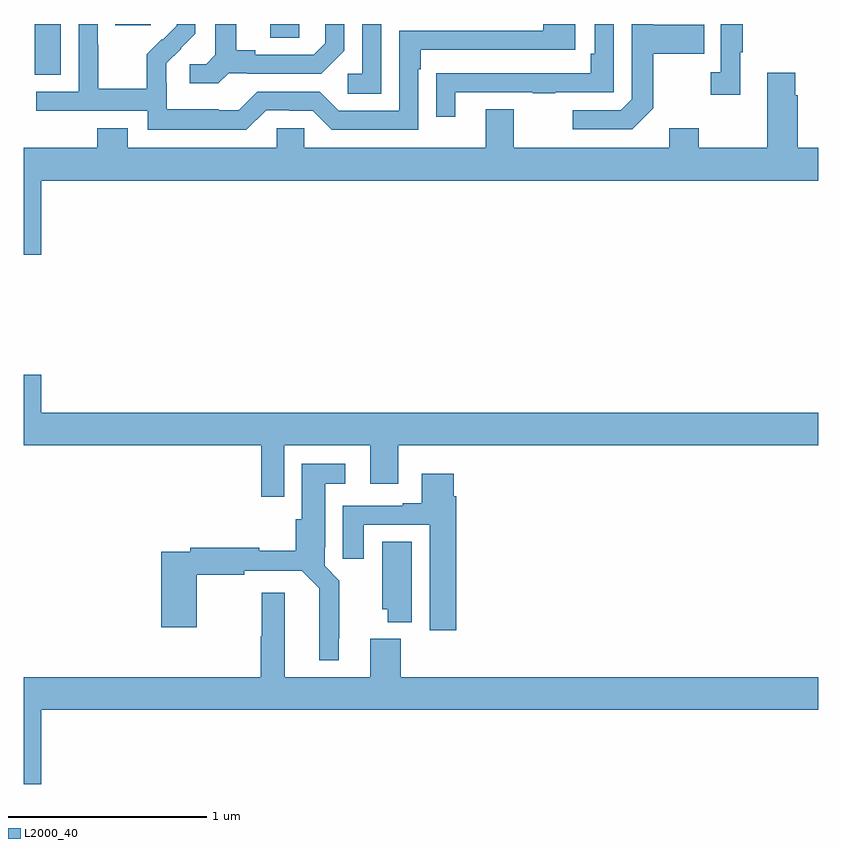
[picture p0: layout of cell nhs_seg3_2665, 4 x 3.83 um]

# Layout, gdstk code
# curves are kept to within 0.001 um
import gdstk
lib = gdstk.Library(unit=1e-6, precision=1e-09)
def R(c, l, rs):  # rectangles x0, y0, x1, y1
    for r in rs: c.add(gdstk.rectangle(r[:2], r[2:], *l))
def P(c, l, *ps):  # polygons
    for p in ps: c.add(gdstk.Polygon(p, *l))
L2000_40 = (2000, 40)

nhs_seg3_2665 = lib.new_cell('nhs_seg3_2665')
R(nhs_seg3_2665, L2000_40, [(249.056,672.145,249.187,672.4), (250.241,672.331,250.386,672.4), (249.461,672.393,249.64,672.4)])
P(nhs_seg3_2665, L2000_40, [(250.221,671.967),(250.337,671.967),(250.337,671.964),(250.455,671.964),(250.551,671.868),(250.986,671.868),(250.986,672.173),(250.999,672.173),(250.999,672.27),(251.776,672.27),(251.776,672.4),(251.615,672.4),(251.615,672.366),(250.89,672.366),(250.89,671.964),(250.587,671.964),(250.491,672.06),(250.176,672.06),(250.083,671.967),(249.983,671.967),(249.983,671.971),(249.72,671.971),(249.72,672.105),(249.718,672.105),(249.718,672.202),(249.864,672.35),(249.864,672.4),(249.77,672.4),(249.77,672.392),(249.699,672.321),(249.696,672.324),(249.619,672.247),(249.619,672.073),(249.375,672.073),(249.375,672.296),(249.372,672.296),(249.372,672.4),(249.276,672.4),(249.276,672.06),(249.063,672.06),(249.063,671.964),(249.624,671.964),(249.624,671.867),(250.121,671.867)],
  [(251.173,672.057),(251.563,672.057),(251.563,672.052),(251.675,672.052),(251.675,672.057),(251.97,672.057),(251.97,672.4),(251.874,672.4),(251.874,672.25),(251.854,672.25),(251.854,672.153),(251.179,672.153),(251.179,672.152),(251.077,672.152),(251.077,671.934),(251.173,671.934)],
  [(250.8,672.4),(250.704,672.4),(250.704,672.15),(250.632,672.15),(250.632,672.049),(250.8,672.049)],
  [(250.032,672.153),(250.126,672.153),(250.126,672.15),(250.498,672.15),(250.614,672.266),(250.614,672.4),(250.517,672.4),(250.517,672.303),(250.46,672.246),(250.165,672.246),(250.165,672.269),(250.069,672.269),(250.069,672.4),(249.965,672.4),(249.965,672.245),(249.918,672.198),(249.837,672.198),(249.837,672.101),(249.98,672.101)],
  [(252.169,671.977),(252.169,672.25),(252.425,672.25),(252.425,672.397),(252.169,672.397),(252.169,672.4),(252.06,672.4),(252.06,672.021),(252.006,671.967),(251.763,671.967),(251.763,671.871),(252.063,671.871)],
  [(252.607,672.257),(252.619,672.257),(252.619,672.4),(252.51,672.4),(252.51,672.158),(252.459,672.158),(252.459,672.045),(252.607,672.045)],
  [(249.088,671.612),(253,671.612),(253,671.776),(252.896,671.776),(252.896,672.041),(252.883,672.041),(252.883,672.154),(252.743,672.154),(252.743,671.776),(252.399,671.776),(252.399,671.875),(252.251,671.875),(252.251,671.776),(251.467,671.776),(251.467,671.971),(251.327,671.971),(251.327,671.776),(250.413,671.776),(250.413,671.874),(250.275,671.874),(250.275,671.776),(249.523,671.776),(249.523,671.875),(249.371,671.875),(249.371,671.776),(249,671.776),(249,671.238),(249.088,671.238)],
  [(250.311,670.28),(250.745,670.28),(250.745,670.086),(250.885,670.086),(250.885,670.28),(253,670.28),(253,670.444),(249.088,670.444),(249.088,670.633),(249,670.633),(249,670.28),(250.195,670.28),(250.195,670.02),(250.311,670.02)],
  [(250.585,669.307),(250.589,669.307),(250.589,669.598),(250.515,669.672),(250.515,669.766),(250.519,669.766),(250.519,670.085),(250.618,670.085),(250.618,670.186),(250.4,670.186),(250.4,669.906),(250.37,669.906),(250.37,669.749),(250.186,669.749),(250.186,669.764),(249.838,669.764),(249.838,669.744),(249.692,669.744),(249.692,669.363),(249.87,669.363),(249.87,669.628),(250.109,669.628),(250.109,669.648),(250.4,669.648),(250.488,669.56),(250.487,669.197),(250.585,669.197)],
  [(251.177,670.022),(251.164,670.022),(251.164,670.135),(251.003,670.135),(251.003,669.988),(250.907,669.988),(250.907,669.975),(250.607,669.975),(250.607,669.708),(250.711,669.708),(250.711,669.879),(251.045,669.879),(251.045,669.348),(251.177,669.348)],
  [(250.954,669.794),(250.805,669.794),(250.805,669.453),(250.832,669.453),(250.832,669.389),(250.954,669.389)],
  [(249.088,668.948),(253,668.948),(253,669.112),(250.898,669.112),(250.898,669.304),(250.745,669.304),(250.745,669.112),(250.315,669.112),(250.315,669.538),(250.198,669.538),(250.198,669.317),(250.193,669.317),(250.193,669.112),(249,669.112),(249,668.574),(249.088,668.574)])

lib.write_gds('nhs_seg3_2665.gds')
